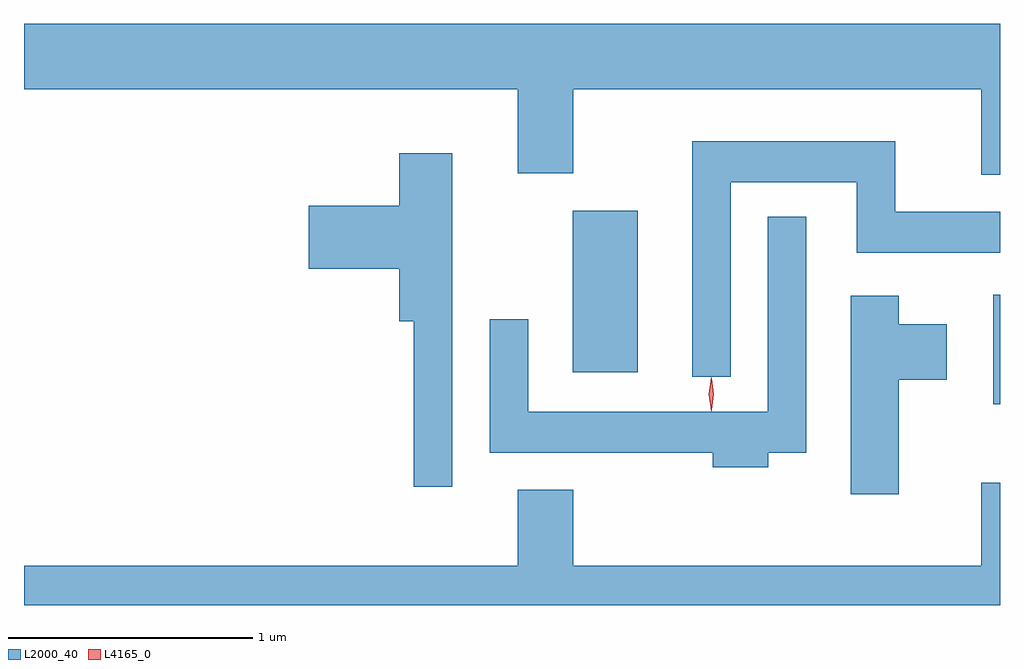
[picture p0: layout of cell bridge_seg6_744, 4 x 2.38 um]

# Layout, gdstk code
import gdstk
lib = gdstk.Library(unit=1e-6, precision=1e-09)
def R(c, l, rs):  # rectangles x0, y0, x1, y1
    for r in rs: c.add(gdstk.rectangle(r[:2], r[2:], *l))
def P(c, l, *ps):  # polygons
    for p in ps: c.add(gdstk.Polygon(p, *l))
L2000_40 = (2000, 40)
L4165_0 = (4165, 0)

bridge_seg6_744 = lib.new_cell('bridge_seg6_744')
R(bridge_seg6_744, L2000_40, [(485.981,1530.986,486.008,1531.434), (484.256,1531.116,484.524,1531.779)])
P(bridge_seg6_744, L2000_40, [(486.008,1532.544),(482.008,1532.544),(482.008,1532.276),(484.031,1532.276),(484.031,1531.931),(484.259,1531.931),(484.259,1532.276),(485.931,1532.276),(485.931,1531.926),(486.008,1531.926)],
  [(484.904,1531.896),(485.421,1531.896),(485.421,1531.606),(486.008,1531.606),(486.008,1531.774),(485.579,1531.774),(485.579,1532.064),(484.746,1532.064),(484.746,1531.098),(484.904,1531.098)],
  [(483.764,1532.014),(483.546,1532.014),(483.546,1531.799),(483.176,1531.799),(483.176,1531.541),(483.546,1531.541),(483.546,1531.326),(483.606,1531.326),(483.606,1530.648),(483.764,1530.648)],
  [(485.059,1530.786),(485.214,1530.786),(485.214,1531.753),(485.056,1531.753),(485.056,1530.954),(484.074,1530.954),(484.074,1531.333),(483.916,1531.333),(483.916,1530.786),(484.831,1530.786),(484.831,1530.726),(485.059,1530.726)],
  [(485.594,1531.086),(485.789,1531.086),(485.789,1531.314),(485.594,1531.314),(485.594,1531.429),(485.396,1531.429),(485.396,1530.616),(485.594,1530.616)],
  [(486.008,1530.664),(485.931,1530.664),(485.931,1530.324),(484.259,1530.324),(484.259,1530.634),(484.031,1530.634),(484.031,1530.324),(482.008,1530.324),(482.008,1530.162),(486.008,1530.162)])
P(bridge_seg6_744, L4165_0, [(484.826,1530.959),(484.825,1530.96),(484.815,1531.026),(484.825,1531.092),(484.825,1531.093),(484.826,1531.092),(484.835,1531.026),(484.826,1530.96)],
  [(484.824,1530.957),(484.815,1531.026),(484.824,1531.096),(484.825,1531.096),(484.825,1531.096),(484.835,1531.026),(484.825,1530.957),(484.825,1530.957)])

lib.write_gds('bridge_seg6_744.gds')
